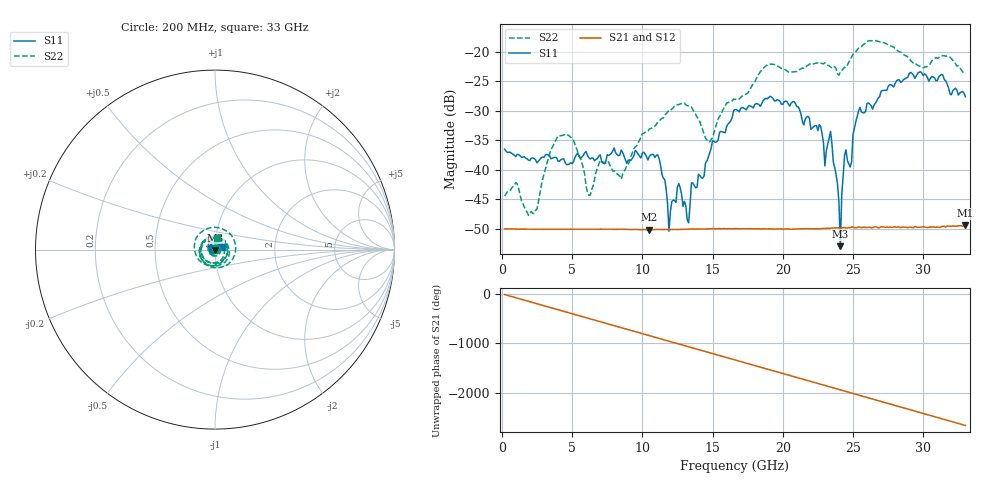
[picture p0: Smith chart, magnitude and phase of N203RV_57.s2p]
# GHZ S RI R 50
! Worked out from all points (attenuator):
!   329 points, 200 MHz to 33 GHz, reference 50 ohm
!   highest |S21| = -49.38 dB at 33 GHz (marker M1); lowest = -50.1 dB at 10.5 GHz (marker M2)
!   lowest |S11| = -52.9 dB at 24.1 GHz (marker M3), VSWR 1.00, Z = 50.2 - j0.148 ohm
!   |S11| at or under -10 dB: start of sweep to end of sweep
!   |S22| runs from -47.7 to -18.1 dB; largest |S21 - S12| = 7.2e-05
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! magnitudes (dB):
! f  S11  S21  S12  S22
! 200 MHz  -36.5  -50.0  -50.0  -44.4
! 2.3 GHz  -38.0  -50.0  -50.0  -47.4
! 4 GHz  -38.5  -50.0  -50.0  -34.2
! 5.7 GHz  -37.8  -50.0  -50.0  -38.8
! 6.3 GHz  -38.1  -50.0  -50.0  -44.2
! 10.5 GHz  -37.7  -50.1  -50.1  -33.1
! 11.2 GHz  -38.1  -50.1  -50.1  -31.7
! 11.9 GHz  -50.4  -50.1  -50.1  -29.9
! 12.6 GHz  -42.3  -50.1  -50.0  -29.0
! 13.3 GHz  -48.9  -50.0  -50.0  -29.2
! 13.5 GHz  -42.2  -50.0  -50.0  -29.3
! 14.7 GHz  -37.9  -50.0  -50.0  -35.3
! 16.6 GHz  -29.8  -49.9  -49.9  -28.0
! 22.1 GHz  -32.9  -50.0  -49.9  -22.1
! 23 GHz  -39.3  -49.9  -49.8  -21.9
! 23.4 GHz  -33.5  -49.9  -49.8  -22.6
! 23.9 GHz  -42.4  -49.8  -49.8  -23.8
! 24.1 GHz  -52.9  -49.9  -49.8  -23.4
! 24.2 GHz  -44.1  -49.8  -49.8  -23.2
! 24.5 GHz  -36.6  -49.8  -49.8  -22.7
! 27.6 GHz  -25.6  -49.7  -49.7  -18.9
! 33 GHz  -27.6  -49.4  -49.4  -23.7
